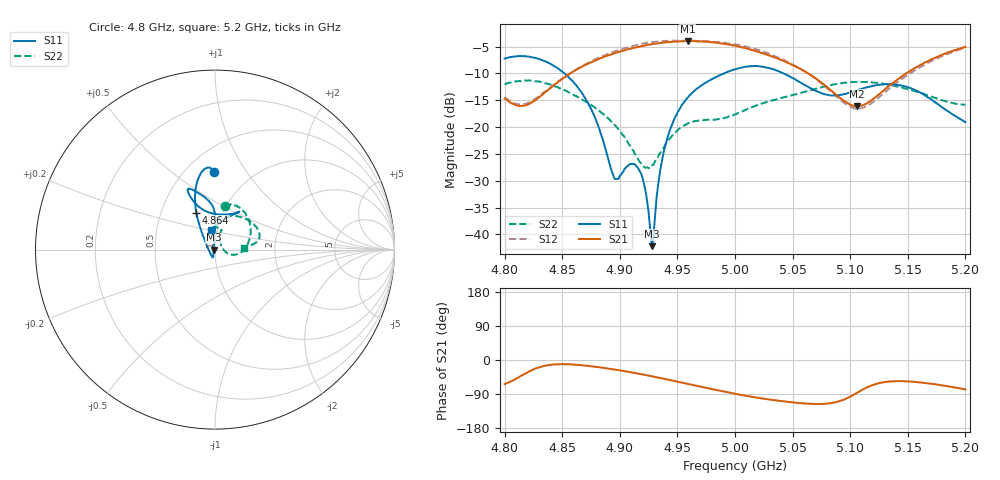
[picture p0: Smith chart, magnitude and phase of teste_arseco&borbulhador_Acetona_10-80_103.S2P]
! Network Analyzer HP8722D
! Hewlett-Packard
! Data name: Linha & Wilkinson
! Saver's name: Rodrigo Anjos
! Comments: Teste da utilização de aquisição
! continua pelo VNA HP8722D
! Time and date: 25/4/2025 16:07
!  Frequency  S11  S21  S12  S22
# HZ  S  MA R 50
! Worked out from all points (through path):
!   401 points, 4.8 GHz to 5.2 GHz, reference 50 ohm
!   highest |S21| = -3.97 dB at 4.959 GHz (marker M1); lowest = -16.1 dB at 5.106 GHz (marker M2)
!   lowest |S11| = -42.2 dB at 4.928 GHz (marker M3), VSWR 1.02, Z = 49.2 - j0.0537 ohm
!   |S11| at or under -10 dB: 4.852 GHz to 4.991 GHz (138.5 MHz wide, 2.81 % of centre); 5.042 GHz to end of sweep
!   |S22| runs from -27.6 to -11.3 dB; largest |S21 - S12| = 1.2
!   S11 on the Smith chart (normalised r, x): 4.8 GHz: 0.68, +0.72; 4.864 GHz: 0.75, +0.33; 5.2 GHz: 0.94, +0.21
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4.8e9  0.4342 90.6  0.1847 -63.6  0.1902 70.0  0.2498 77.2
4.82e9  0.4534 96.9  0.1618 -32.0  0.1673 98.7  0.2709 61.4
4.844e9  0.3654 106.8  0.2513 -11.6  0.2549 119.2  0.2382 35.2
4.864e9  0.2312 116.7  0.3508 -13.0  0.3539 121.0  0.1897 11.8
4.867e9  0.2081 118.4  0.3645 -14.0  0.3692 120.6  0.1823 8.3
4.88e9  0.1113 129.0  0.4234 -18.4  0.434 118.1  0.148 -5.6
4.896e9  0.03276 -165.0  0.4899 -25.5  0.5082 113.0  0.1033 -16.1
4.909e9  0.04539 -108.3  0.5358 -32.1  0.5615 107.4  0.0668 -14.5
4.917e9  0.03934 -104.2  0.5615 -36.6  0.5904 103.4  0.04769 -0.9
4.922e9  0.02634 -108.4  0.5768 -39.4  0.604 100.6  0.04185 16.7
4.928e9  0.007786 -176.0  0.5919 -43.1  0.6183 96.9  0.04408 41.6
4.93e9  0.01236 127.3  0.5975 -44.5  0.6216 95.7  0.04656 48.7
4.934e9  0.0327 100.6  0.6036 -46.9  0.6293 93.1  0.05543 58.4
4.944e9  0.09703 90.8  0.6227 -53.2  0.6358 86.6  0.07964 69.5
4.959e9  0.189 89.7  0.6328 -63.0  0.6402 77.2  0.1084 71.5
5e9  0.3456 109.0  0.5732 -89.1  0.5912 50.7  0.1315 88.5
5.031e9  0.3516 115.0  0.459 -104.8  0.4749 33.1  0.1758 84.5
5.067e9  0.226 105.2  0.3002 -115.9  0.2971 23.6  0.2222 56.8
5.106e9  0.2197 64.5  0.1561 -86.5  0.1482 56.5  0.2631 24.6
5.134e9  0.2507 57.2  0.2428 -56.7  0.2281 88.7  0.2476 12.3
5.168e9  0.188 69.2  0.4144 -61.9  0.3972 85.0  0.1959 6.9
5.2e9  0.1113 100.8  0.5577 -77.8  0.5459 70.0  0.1612 3.7
